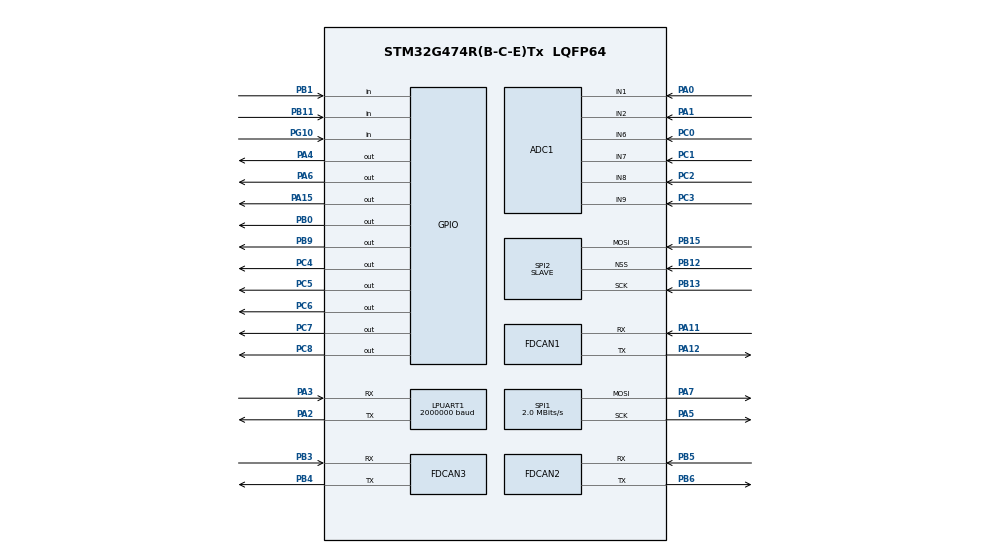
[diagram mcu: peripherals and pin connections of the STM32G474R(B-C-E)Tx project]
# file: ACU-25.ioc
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ADC1.Channel-0\#ChannelRegularConversion=ADC_CHANNEL_7
ADC1.Channel-1\#ChannelRegularConversion=ADC_CHANNEL_8
ADC1.Channel-2\#ChannelRegularConversion=ADC_CHANNEL_9
ADC1.Channel-3\#ChannelRegularConversion=ADC_CHANNEL_1
ADC1.Channel-4\#ChannelRegularConversion=ADC_CHANNEL_6
ADC1.Channel-5\#ChannelRegularConversion=ADC_CHANNEL_2
ADC1.ContinuousConvMode=ENABLE
ADC1.DMAContinuousRequests=ENABLE
ADC1.NbrOfConversion=6
ADC1.NbrOfConversionFlag=1
ADC1.OffsetNumber-0\#ChannelRegularConversion=ADC_OFFSET_NONE
ADC1.OffsetNumber-1\#ChannelRegularConversion=ADC_OFFSET_NONE
ADC1.OffsetNumber-2\#ChannelRegularConversion=ADC_OFFSET_NONE
ADC1.OffsetNumber-3\#ChannelRegularConversion=ADC_OFFSET_NONE
ADC1.OffsetNumber-4\#ChannelRegularConversion=ADC_OFFSET_NONE
ADC1.OffsetNumber-5\#ChannelRegularConversion=ADC_OFFSET_NONE
ADC1.OversamplingMode=ENABLE
ADC1.Rank-0\#ChannelRegularConversion=1
ADC1.Rank-1\#ChannelRegularConversion=2
ADC1.Rank-2\#ChannelRegularConversion=3
ADC1.Rank-3\#ChannelRegularConversion=4
ADC1.Rank-4\#ChannelRegularConversion=5
ADC1.Rank-5\#ChannelRegularConversion=6
ADC1.Ratio=ADC_OVERSAMPLING_RATIO_8
ADC1.RightBitShift=ADC_RIGHTBITSHIFT_3
ADC1.SamplingTime-0\#ChannelRegularConversion=ADC_SAMPLETIME_92CYCLES_5
ADC1.SamplingTime-1\#ChannelRegularConversion=ADC_SAMPLETIME_92CYCLES_5
ADC1.SamplingTime-2\#ChannelRegularConversion=ADC_SAMPLETIME_92CYCLES_5
ADC1.SamplingTime-3\#ChannelRegularConversion=ADC_SAMPLETIME_92CYCLES_5
ADC1.SamplingTime-4\#ChannelRegularConversion=ADC_SAMPLETIME_92CYCLES_5
ADC1.SamplingTime-5\#ChannelRegularConversion=ADC_SAMPLETIME_92CYCLES_5
ADC1.master=1
Dma.ADC1.0.Direction=DMA_PERIPH_TO_MEMORY
Dma.ADC1.0.EventEnable=DISABLE
Dma.ADC1.0.Instance=DMA1_Channel1
Dma.ADC1.0.MemDataAlignment=DMA_MDATAALIGN_HALFWORD
Dma.ADC1.0.MemInc=DMA_MINC_ENABLE
Dma.ADC1.0.Mode=DMA_CIRCULAR
Dma.ADC1.0.PeriphDataAlignment=DMA_PDATAALIGN_HALFWORD
Dma.ADC1.0.PeriphInc=DMA_PINC_DISABLE
Dma.ADC1.0.Polarity=HAL_DMAMUX_REQ_GEN_RISING
Dma.ADC1.0.Priority=DMA_PRIORITY_LOW
Dma.ADC1.0.RequestNumber=1
Dma.ADC1.0.SignalID=NONE
Dma.ADC1.0.SyncEnable=DISABLE
Dma.ADC1.0.SyncPolarity=HAL_DMAMUX_SYNC_NO_EVENT
Dma.ADC1.0.SyncRequestNumber=1
Dma.ADC1.0.SyncSignalID=NONE
Dma.Request0=ADC1
FDCAN1.CalculateBaudRateNominal=1000000
FDCAN1.CalculateTimeBitNominal=1000
FDCAN1.CalculateTimeQuantumNominal=31.25
FDCAN1.NominalPrescaler=4
FDCAN1.NominalTimeSeg1=23
FDCAN1.NominalTimeSeg2=8
FDCAN2.CalculateBaudRateNominal=1000000
FDCAN2.CalculateTimeBitNominal=1000
FDCAN2.CalculateTimeQuantumNominal=7.8125
FDCAN2.DataSyncJumpWidth=3
FDCAN2.DataTimeSeg1=11
FDCAN2.DataTimeSeg2=4
FDCAN2.FrameFormat=FDCAN_FRAME_FD_NO_BRS
FDCAN2.NominalPrescaler=1
FDCAN2.NominalSyncJumpWidth=16
FDCAN2.NominalTimeSeg1=95
FDCAN2.NominalTimeSeg2=32
FDCAN3.CalculateBaudRateNominal=500000
FDCAN3.CalculateTimeBitNominal=2000
FDCAN3.CalculateTimeQuantumNominal=62.5
FDCAN3.NominalPrescaler=8
FDCAN3.NominalSyncJumpWidth=5
FDCAN3.NominalTimeSeg1=23
FDCAN3.NominalTimeSeg2=8
LPUART1.BaudRate=2000000
Mcu.Family=STM32G4
Mcu.Name=STM32G474R(B-C-E)Tx
Mcu.Package=LQFP64
NVIC.FDCAN1_IT0_IRQn=true\:10\:0\:true\:false\:true\:true\:true\:true
NVIC.FDCAN2_IT0_IRQn=true\:11\:0\:true\:false\:true\:true\:true\:true
NVIC.FDCAN3_IT0_IRQn=true\:12\:0\:true\:false\:true\:true\:true\:true
NVIC.LPUART1_IRQn=true\:4\:0\:true\:false\:true\:true\:true\:true
NVIC.PriorityGroup=NVIC_PRIORITYGROUP_4
NVIC.SPI2_IRQn=true\:0\:0\:false\:false\:true\:true\:true\:true
NVIC.TIM7_DAC_IRQn=true\:14\:0\:true\:false\:true\:true\:true\:true
PA0.Mode=IN1-Single-Ended
PA0.Signal=ADC1_IN1
PA1.Mode=IN2-Single-Ended
PA1.Signal=ADC1_IN2
PA11.Mode=FDCAN_Activate
PA11.Signal=FDCAN1_RX
PA12.Mode=FDCAN_Activate
PA12.Signal=FDCAN1_TX
PA13.Mode=Serial_Wire
PA13.Signal=SYS_JTMS-SWDIO
PA14.Mode=Serial_Wire
PA14.Signal=SYS_JTCK-SWCLK
PA15.Signal=GPIO_Output
PA2.Mode=Asynchronous
PA2.Signal=LPUART1_TX
PA3.Mode=Asynchronous
PA3.Signal=LPUART1_RX
PA4.Signal=GPIO_Output
PA5.Mode=TX_Only_Simplex_Unidirect_Master
PA5.Signal=SPI1_SCK
PA6.Signal=GPIO_Output
PA7.Mode=TX_Only_Simplex_Unidirect_Master
PA7.Signal=SPI1_MOSI
PB0.Signal=GPIO_Output
PB1.Signal=GPIO_Input
PB11.Signal=GPIO_Input
PB12.Mode=NSS_Signal_Hard_Input
PB12.Signal=SPI2_NSS
PB13.Mode=RX_Only_Simplex_Unidirect_Slave
PB13.Signal=SPI2_SCK
PB15.Mode=RX_Only_Simplex_Unidirect_Slave
PB15.Signal=SPI2_MOSI
PB3.Mode=FDCAN_Activate
PB3.Signal=FDCAN3_RX
PB4.Mode=FDCAN_Activate
PB4.Signal=FDCAN3_TX
PB5.Mode=FDCAN_Activate
PB5.Signal=FDCAN2_RX
PB6.Mode=FDCAN_Activate
PB6.Signal=FDCAN2_TX
PB9.Signal=GPIO_Output
PC0.Mode=IN6-Single-Ended
PC0.Signal=ADC1_IN6
PC1.Mode=IN7-Single-Ended
PC1.Signal=ADC1_IN7
PC2.Mode=IN8-Single-Ended
PC2.Signal=ADC1_IN8
PC3.Mode=IN9-Single-Ended
PC3.Signal=ADC1_IN9
PC4.Signal=GPIO_Output
PC5.Signal=GPIO_Output
PC6.Signal=GPIO_Output
PC7.Signal=GPIO_Output
PC8.Signal=GPIO_Output
PF0-OSC_IN.Mode=HSE-External-Clock-Source
PF0-OSC_IN.Signal=RCC_OSC_IN
PG10-NRST.GPIO_PuPd=GPIO_PULLDOWN
PG10-NRST.Signal=GPIO_Input
ProjectManager.HeapSize=0x200
ProjectManager.StackSize=0x400
ProjectManager.TargetToolchain=CMake
RCC.ADC12Freq_Value=128000000
RCC.ADC345Freq_Value=128000000
RCC.AHBFreq_Value=128000000
RCC.APB1Freq_Value=128000000
RCC.APB1TimFreq_Value=128000000
RCC.APB2Freq_Value=128000000
RCC.APB2TimFreq_Value=128000000
RCC.CortexFreq_Value=128000000
RCC.EXTERNAL_CLOCK_VALUE=12288000
RCC.HCLKFreq_Value=128000000
RCC.HSE_VALUE=8000000
RCC.HSI48_VALUE=48000000
RCC.HSI_VALUE=16000000
RCC.LSE_VALUE=32768
RCC.PLLN=16
RCC.SYSCLKFreq_VALUE=128000000
RCC.SYSCLKSource=RCC_SYSCLKSOURCE_PLLCLK
RCC.USBFreq_Value=128000000
RCC.VCOOutputFreq_Value=256000000
SPI1.BaudRatePrescaler=SPI_BAUDRATEPRESCALER_64
SPI1.CLKPhase=SPI_PHASE_2EDGE
SPI1.CalculateBaudRate=2.0 MBits/s
SPI1.DataSize=SPI_DATASIZE_8BIT
SPI1.Direction=SPI_DIRECTION_2LINES
SPI1.Mode=SPI_MODE_MASTER
SPI1.VirtualType=VM_MASTER
SPI2.CLKPhase=SPI_PHASE_2EDGE
SPI2.CRCCalculation=SPI_CRCCALCULATION_DISABLE
SPI2.DataSize=SPI_DATASIZE_8BIT
SPI2.Direction=SPI_DIRECTION_2LINES_RXONLY
SPI2.Mode=SPI_MODE_SLAVE
SPI2.VirtualNSS=VM_NSSHARD
SPI2.VirtualType=VM_SLAVE
TIM5.Prescaler=127
TIM7.PeriodNoDither=99
TIM7.Prescaler=127
VP_SYS_VS_DBSignals.Mode=DisableDeadBatterySignals
VP_SYS_V_VREFBUF.Mode=ExternalMode
VP_TIM5_VS_ClockSourceINT.Mode=Internal
VP_TIM7_VS_ClockSourceINT.Mode=Enable_Timer
board=custom

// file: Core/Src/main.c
/* USER CODE BEGIN Header */
/**
  ******************************************************************************
  * @file           : main.c
  * @brief          : Main program body
  ******************************************************************************
  * @attention
  *
  * Copyright (c) 2025 STMicroelectronics.
  * All rights reserved.
  *
  * This software is licensed under terms that can be found in the LICENSE file
  * in the root directory of this software component.
  * If no LICENSE file comes with this software, it is provided AS-IS.
  *
  ******************************************************************************
  */
/* USER CODE END Header */
#include "main.h"
#include "adc.h"
#include "dma.h"
#include "fdcan.h"
#include "usart.h"
#include "spi.h"
#include "tim.h"
#include "gpio.h"

/* USER CODE BEGIN Includes */
#include "acu.h" // fetch bcc & other componentes here
#include "mcu.h" // might not need
#include "state.h" // fetch states
/* USER CODE END Includes */

/* USER CODE BEGIN PD */
#define ADC_SIZE 6U
#define TPL_RX_BUFFER 256U
/* USER CODE END PD */

/* USER CODE BEGIN PV */

// trackers
uint8_t cycle = 0;
uint32_t prev = 0;
bool first_init = true;
char print_buffer[1000];
volatile char command_buffer[256] = {0};
volatile uint16_t command_length = 0;
volatile bool check_ts_active = false;
uint8_t bcc_cooked_count = 1; // 1 means good, 0 means it got to 255 and overflowed and we reset
bcc_status_t bcc_error = BCC_STATUS_SUCCESS;
uint16_t cps = 0; // cycles per second
uint32_t last_read_temp_time;
uint16_t read_temp_interval = 100;

// BMS/ACU
ACU acu;
Battery battery;
Charger charger;
EM eMeter;
FanPumpCtrl fan_pump;

// ADC Data
uint16_t adc_data[ADC_SIZE]; // 0: ts_current, 1: ts_voltage, 2: sdc_volt_w, 3: sdc_volt_v, 4:volt_12v, 5: water_sense

// BCC - timeout vars
uint32_t BCC_MCU_Timeout_Start = 0;
uint32_t BCC_MCU_Timeout_length = 0;

// communication BCC - TPL
volatile uint8_t TPL_RxBuffer[TPL_RX_BUFFER]; // store rx SPI data
volatile uint8_t TPL_RxBufferLevel = 0; // bytes to be read
volatile uint8_t TPL_RxBufferBottom = 0; // idx to oldest data
volatile uint8_t TPL_RxBufferTop = 0; // idx to newest data

// communication - FDCAN
extern FDCAN_HandleTypeDef hfdcan1;
extern FDCAN_HandleTypeDef hfdcan2;
extern FDCAN_HandleTypeDef hfdcan3;

// communication headers - FDCAN
FDCAN_TxHeaderTypeDef TxHeader; // PRIMARY
FDCAN_RxHeaderTypeDef RxHeader; // PRIMARY

FDCAN_TxHeaderTypeDef TxHeader_Data;
FDCAN_RxHeaderTypeDef RxHeader_Data;

FDCAN_TxHeaderTypeDef TxHeader_Charger;
FDCAN_RxHeaderTypeDef RxHeader_Charger;

// communication queues - FDCAN (ensure mods are atomic)
volatile uint8_t prim_q[256] = {0}, data_q[256] = {0}, charger_q[256] = {0};
volatile uint8_t p_top = 0, p_bottom = 0, p_level = 0;
volatile uint8_t d_top = 0, d_bottom = 0, d_level = 0;
volatile uint8_t c_top = 0, c_bottom = 0, c_level = 0;

// communication flags - FDCAN (ensure mods are atomic)
volatile uint8_t CAN_1_flag = 0;
volatile uint8_t CAN_2_flag = 0;
volatile uint8_t CAN_3_flag = 0;

// SHARED BUFFER: all data enter in through this buffer (ensure mods are atomic)
uint8_t CAN_TxData[64] = {0};
uint8_t CAN_RxData[64] = {0};

// SHARED BUFFER: ACCESSIBLE BY INTERRUPT HANDLER AND DEV (ME!) (ensure mods are atomic)
volatile CAN_RX_message CAN_RxBuffer[256]; // Array to store received CAN data
volatile uint8_t CAN_RxBufferLevel = 0; // tells you level = abs(top - bottom)
volatile uint8_t CAN_RxBufferBottom = 0; // Index of oldest data
volatile uint8_t CAN_RxBufferTop = 0; // Index of newest data

// STATE tracker
volatile State state;

extern void print_bcc_status(bcc_status_t stat);
extern void update_adc_data(ACU* acu);
extern void dequeue(ACU* acu);
extern void debug();

/* USER CODE END PV */

void SystemClock_Config(void);
/* USER CODE BEGIN PFP */
void dequeue_in_irq();
void parse_data();

void DWT_Delay_Init();
void print_lpuart(char* arr);
int16_t Read_ADC1_Channel(uint32_t channel);

// interrupt
void HAL_FDCAN_RxFifo0Callback(FDCAN_HandleTypeDef *hfdcan, uint32_t RxFifo0ITs);

/* USER CODE END PFP */

/* USER CODE BEGIN 0 */

/// @brief lazy way to read without the need for acu pointer to be passed
void parse_data(){
  can_read_handler(&acu);
}

/// @brief lazy way to send data without the need for acu pointer to be passed
void dequeue_in_irq(){
  dequeue(&acu);
}

/// @brief out "print" function
/// @param arr
void print_lpuart(char* arr) {
  uint32_t idx = 0; // index
  while (arr[idx]) {
    while (!LL_LPUART_IsActiveFlag_TXE(LPUART1));
    LL_LPUART_TransmitData8(LPUART1, arr[idx]);
    idx++;
  }
}

/// @brief setup function => simplified
/// @return 0 for success, 1 for FAILURE 🤦‍♂🥲
int setup(){

  if (LL_ADC_IsEnabled(ADC1) == 0){
    // setup ADC
    LL_ADC_DisableDeepPowerDown(ADC1);
    LL_ADC_EnableInternalRegulator(ADC1);
    uint32_t wait_loop_index = ((LL_ADC_DELAY_INTERNAL_REGUL_STAB_US * (SystemCoreClock / (100000 * 2))) / 10);
    while(wait_loop_index != 0)
    {
      wait_loop_index--;
    }
    LL_ADC_StartCalibration(ADC1, LL_ADC_SINGLE_ENDED);
    while (LL_ADC_IsCalibrationOnGoing(ADC1) != 0)
    {
      ;
    }
    LL_ADC_Enable(ADC1);
    while (!LL_ADC_IsActiveFlag_ADRDY(ADC1));
    LL_DMA_SetPeriphAddress(DMA1, LL_DMA_CHANNEL_1, (uint32_t)&ADC1->DR);
    LL_DMA_SetMemoryAddress(DMA1, LL_DMA_CHANNEL_1, (uint32_t)adc_data);
    LL_DMA_SetDataLength(DMA1, LL_DMA_CHANNEL_1, 6);
    LL_DMA_EnableChannel(DMA1, LL_DMA_CHANNEL_1);
    LL_ADC_REG_StartConversion(ADC1);
  }

  state = INIT;
  return 0;
}
/* USER CODE END 0 */

int main(void)
{

  /* MCU Configuration--------------------------------------------------------*/

  /* Reset of all peripherals, Initializes the Flash interface and the Systick. */
  HAL_Init();

  /* Configure the system clock */
  SystemClock_Config();

  /* Initialize all configured peripherals */
  MX_GPIO_Init();
  MX_DMA_Init();
  MX_SPI1_Init();
  MX_SPI2_Init();
  MX_TIM5_Init();
  MX_LPUART1_UART_Init();
  MX_FDCAN1_Init();
  MX_ADC1_Init();
  MX_FDCAN2_Init();
  MX_FDCAN3_Init();
  MX_TIM7_Init();
  /* USER CODE BEGIN 2 */
  DWT_Delay_Init();
  write_IRneg(false);
  write_IRpos(false);
  write_prechg(false);
  // write_LED(1);
  // HAL_Delay(100);
  // write_LED(0);

  // HOW DID I FORGET THIS AND IT STILL WORK?
  acu.bty = &battery;
  acu.chgr = &charger;
  acu.em = &eMeter;
  acu.fan_pump = &fan_pump;

  /* Enable the SPI peripherals */
  BCC_MCU_WriteCsbPin(0, 1);
  LL_SPI_Enable(SPI1);
  LL_SPI_Enable(SPI2);
  LL_SPI_EnableIT_RXNE(SPI2);

  /* Enable the CAN module */
  if (  (HAL_FDCAN_Start(&hfdcan1) != HAL_OK)
      || (HAL_FDCAN_Start(&hfdcan2) != HAL_OK)
      || ( HAL_FDCAN_Start(&hfdcan3) != HAL_OK)) {
    print_lpuart("failed to HAL_FDCAN_Start\n");
  }

  // Activate interrupting capabilities
  HAL_FDCAN_ActivateNotification(&hfdcan1, FDCAN_IT_RX_FIFO0_NEW_MESSAGE, 0);
  HAL_FDCAN_ActivateNotification(&hfdcan2, FDCAN_IT_RX_FIFO0_NEW_MESSAGE, 0);
  HAL_FDCAN_ActivateNotification(&hfdcan3, FDCAN_IT_RX_FIFO0_NEW_MESSAGE, 0);

  HAL_FDCAN_ActivateNotification(&hfdcan1, FDCAN_IT_RX_FIFO0_FULL, 0);
  HAL_FDCAN_ActivateNotification(&hfdcan2, FDCAN_IT_RX_FIFO0_FULL, 0);
  HAL_FDCAN_ActivateNotification(&hfdcan3, FDCAN_IT_RX_FIFO0_FULL, 0);

  HAL_FDCAN_ActivateNotification(&hfdcan1, FDCAN_IT_RX_FIFO0_MESSAGE_LOST, 0);
  HAL_FDCAN_ActivateNotification(&hfdcan2, FDCAN_IT_RX_FIFO0_MESSAGE_LOST, 0);
  HAL_FDCAN_ActivateNotification(&hfdcan3, FDCAN_IT_RX_FIFO0_MESSAGE_LOST, 0);

  // enable microsecond timer
  LL_TIM_EnableCounter(TIM5);
  // enable CAN handler timer interrupt
  LL_TIM_EnableCounter(TIM7);
  LL_TIM_EnableIT_UPDATE(TIM7);

  write_LED(1);
  setup();

  // Configure TxHeader
  TxHeader.IdType = FDCAN_EXTENDED_ID;
  TxHeader.TxFrameType = FDCAN_DATA_FRAME;
  TxHeader.ErrorStateIndicator = FDCAN_ESI_ACTIVE;
  TxHeader.BitRateSwitch = FDCAN_BRS_OFF;
  TxHeader.FDFormat = FDCAN_CLASSIC_CAN;
  TxHeader.TxEventFifoControl = FDCAN_NO_TX_EVENTS;

  TxHeader_Data.IdType = FDCAN_EXTENDED_ID;
  TxHeader_Data.TxFrameType = FDCAN_DATA_FRAME;
  TxHeader_Data.ErrorStateIndicator = FDCAN_ESI_ACTIVE;
  TxHeader_Data.BitRateSwitch = FDCAN_BRS_OFF;
  TxHeader_Data.FDFormat = FDCAN_FD_CAN;
  TxHeader_Data.TxEventFifoControl = FDCAN_NO_TX_EVENTS;

  TxHeader_Charger.IdType = FDCAN_EXTENDED_ID;
  TxHeader_Charger.TxFrameType = FDCAN_DATA_FRAME;
  TxHeader_Charger.ErrorStateIndicator = FDCAN_ESI_ACTIVE;
  TxHeader_Charger.BitRateSwitch = FDCAN_BRS_OFF;
  TxHeader_Charger.FDFormat = FDCAN_CLASSIC_CAN;
  TxHeader_Charger.TxEventFifoControl = FDCAN_NO_TX_EVENTS;

  // Configure RxHeader
  RxHeader.IdType = FDCAN_EXTENDED_ID;
  RxHeader.RxFrameType = FDCAN_DATA_FRAME;
  RxHeader.ErrorStateIndicator = FDCAN_ESI_ACTIVE;
  RxHeader.DataLength = FDCAN_DLC_BYTES_8;
  RxHeader.BitRateSwitch = FDCAN_BRS_OFF;
  RxHeader.FDFormat = FDCAN_CLASSIC_CAN;
  RxHeader.RxTimestamp = 0; /* Specifies the timestamp counter value captured on start of frame reception. Between 0 and 0xFFFF  */

  // configure driveConfig
  battery.drvConfig.commMode = BCC_MODE_TPL;
  battery.drvConfig.devicesCnt = NUM_TOTAL_IC;
  battery.drvConfig.drvInstance = 0U;
  battery.drvConfig.loopBack = false;
  for(uint8_t i = 0; i < NUM_TOTAL_IC; i++){
      battery.drvConfig.device[i] = BCC_DEVICE_MC33771C;
      battery.drvConfig.cellCnt[i] = NUM_CELL_IC;
  }

  // turn on LPUART RXNE interrupt to receive commands from VCP
  LL_LPUART_EnableIT_RXNE_RXFNE(LPUART1);
  /* USER CODE END 2 */

  /* Infinite loop */
  /* USER CODE BEGIN WHILE */
  while (1)
  {
    // print_state(); // prints the current state
    // sdc_reset();
    LL_GPIO_TogglePin(GPIOA, LL_GPIO_PIN_15);
    BCC_WakeUp(&(battery.drvConfig));

    // proceed unless it's 🔥
    if(state != INIT){

      // SYSTEM CHECK
      if (state != CHARGE){
        read_device_measurements(&battery, true, false);
      }
      if (HAL_GetTick() - last_read_temp_time >= read_temp_interval){
        last_read_temp_time += read_temp_interval;
        read_device_measurements(&battery, false, true);
      }
      // bool b_check = battery_check(&battery, false);
      // if(b_check == false){
      //   enqueue(ACU_Status_1, FDCAN1);
      //   enqueue(ACU_Status_2, FDCAN1);
      //   #if DEBUGG == 0
      //   state = state == INIT ? INIT : SHITDOWN;
      //   #endif
      // }
    }
    switch(state){
      case (INIT):
        init();
        break;
      case (STANDBY):
        standby();
        break;
      case (PRECHARGE):
        precharge();
        break;
      case (CHARGE):
        charge();
        break;
      case (NORMAL):
        normal();
        break;
      case (SHITDOWN):
        shitdown();
        break;
      default:
        print_lpuart("ur cooked if you end up here...\n");
        state = SHITDOWN;
        break;
    }
    cps++;
    if(HAL_GetTick() - prev >= 1000){ // debug every 1 second
      while(HAL_GetTick() - prev >= 1000)prev += 1000;
      enqueue(ACU_FANPUMP_CTRL, FDCAN1);
      #if DEBUG_MODE == 0
      debug();
      sprintf(print_buffer, "%ucps\n", cps);
      print_lpuart(print_buffer);
      #endif
      bcc_cooked_count = 1; // reset error rate accumulator
      if ((acu.is_VCP_override & OVERRIDE_STATE) != 0) print_lpuart("state override\n");
      if ((acu.is_VCP_override & OVERRIDE_ERROR) != 0) print_lpuart("error override\n");
      cps = 0;
    }
    /* USER CODE END WHILE */

    /* USER CODE BEGIN 3 */
  }
  LL_SPI_Disable(SPI1);
  LL_SPI_Disable(SPI2);
  HAL_FDCAN_Stop(&hfdcan1);
  HAL_FDCAN_Stop(&hfdcan2);
  HAL_FDCAN_Stop(&hfdcan3);
  /* USER CODE END 3 */
}

void SystemClock_Config(void)
{
  LL_FLASH_SetLatency(LL_FLASH_LATENCY_4);
  while(LL_FLASH_GetLatency() != LL_FLASH_LATENCY_4)
  {
  }
  LL_PWR_SetRegulVoltageScaling(LL_PWR_REGU_VOLTAGE_SCALE1);
  LL_RCC_HSI_Enable();
   /* Wait till HSI is ready */
  while(LL_RCC_HSI_IsReady() != 1)
  {
  }

  LL_RCC_HSI_SetCalibTrimming(64);
  LL_RCC_PLL_ConfigDomain_SYS(LL_RCC_PLLSOURCE_HSI, LL_RCC_PLLM_DIV_1, 16, LL_RCC_PLLR_DIV_2);
  LL_RCC_PLL_EnableDomain_SYS();
  LL_RCC_PLL_Enable();
   /* Wait till PLL is ready */
  while(LL_RCC_PLL_IsReady() != 1)
  {
  }

  LL_RCC_SetSysClkSource(LL_RCC_SYS_CLKSOURCE_PLL);
  LL_RCC_SetAHBPrescaler(LL_RCC_SYSCLK_DIV_2);
   /* Wait till System clock is ready */
  while(LL_RCC_GetSysClkSource() != LL_RCC_SYS_CLKSOURCE_STATUS_PLL)
  {
  }

  /* Insure 1us transition state at intermediate medium speed clock*/
  for (__IO uint32_t i = (170 >> 1); i !=0; i--);

  /* Set AHB prescaler*/
  LL_RCC_SetAHBPrescaler(LL_RCC_SYSCLK_DIV_1);
  LL_RCC_SetAPB1Prescaler(LL_RCC_APB1_DIV_1);
  LL_RCC_SetAPB2Prescaler(LL_RCC_APB2_DIV_1);
  LL_SetSystemCoreClock(128000000);

   /* Update the time base */
  if (HAL_InitTick (TICK_INT_PRIORITY) != HAL_OK)
  {
    Error_Handler();
  }
}

/* USER CODE BEGIN 4 */
/// @brief Enable DWT_Delay
/// @param void
void DWT_Delay_Init(void){
  // do we need to check (!CoreDebug->DEMCR |= CoreDebug_DEMCR_TRCENA_Msk)?
  // don't know but it works so I'm not touching this
  CoreDebug->DEMCR |= CoreDebug_DEMCR_TRCENA_Msk;
  DWT->CYCCNT = 0;  // Reset counter
  DWT->CTRL |= DWT_CTRL_CYCCNTENA_Msk; // Enable counter
}

/// @brief Interrupt handler for RX CAN messages
/// @param hfdcan should always be FDCAN1
/// @param RxFifo0ITs
void HAL_FDCAN_RxFifo0Callback(FDCAN_HandleTypeDef *hfdcan, uint32_t RxFifo0ITs)
{
    // Check if a new message is received in FIFO 0
    if (RxFifo0ITs & FDCAN_IT_RX_FIFO0_NEW_MESSAGE)
    {
        // if buffer full, then skip
        if(CAN_RxBufferLevel == 255U) return;

        // Retrieve the message from FIFO 0
        if (HAL_FDCAN_GetRxMessage(hfdcan, FDCAN_RX_FIFO0, &RxHeader, CAN_RxData) == HAL_OK)
        {
            CAN_RxBuffer[CAN_RxBufferTop].identifier = RxHeader.Identifier;
            CAN_RxBuffer[CAN_RxBufferTop].length = RxHeader.DataLength;
            CAN_RxBuffer[CAN_RxBufferTop].instance = hfdcan->Instance;

            #if SPAMPRINT == 0
            if (CAN_RxBuffer[CAN_RxBufferTop].identifier == Precharge_ACU){
              uint8_t headerBuff[64], dataBuff[8];
              sprintf(headerBuff, "Received CAN message: ID=0x%lX, DLC=%ld, Data=\n", RxHeader.Identifier, RxHeader.DataLength);
              print_lpuart(headerBuff);
              for (uint32_t i = 0; i < RxHeader.DataLength; i++)
              {
                  sprintf(dataBuff, " 0x%02X, ", CAN_RxData[i]);
                  print_lpuart(dataBuff);
                  bzero((void *)dataBuff, 8);
              }
              sprintf(dataBuff, "\n");
              print_lpuart(dataBuff);
            }
            #endif

            // copy the data
            bzero((void *)CAN_RxBuffer[CAN_RxBufferTop].data, 64);
            memcpy((void * restrict)CAN_RxBuffer[CAN_RxBufferTop].data, CAN_RxData, RxHeader.DataLength);
            CAN_RxBufferTop++; // increment and mod the pointers in the buffer
            CAN_RxBufferLevel++;
        }
    }
}

/* USER CODE END 4 */

void Error_Handler(void)
{
  /* USER CODE BEGIN Error_Handler_Debug */
  /* User can add his own implementation to report the HAL error return state */
  __disable_irq();
  while (1)
  {
    print_lpuart("Error has occured!\n");
    LL_mDelay(1000);
  }
  /* USER CODE END Error_Handler_Debug */
}
